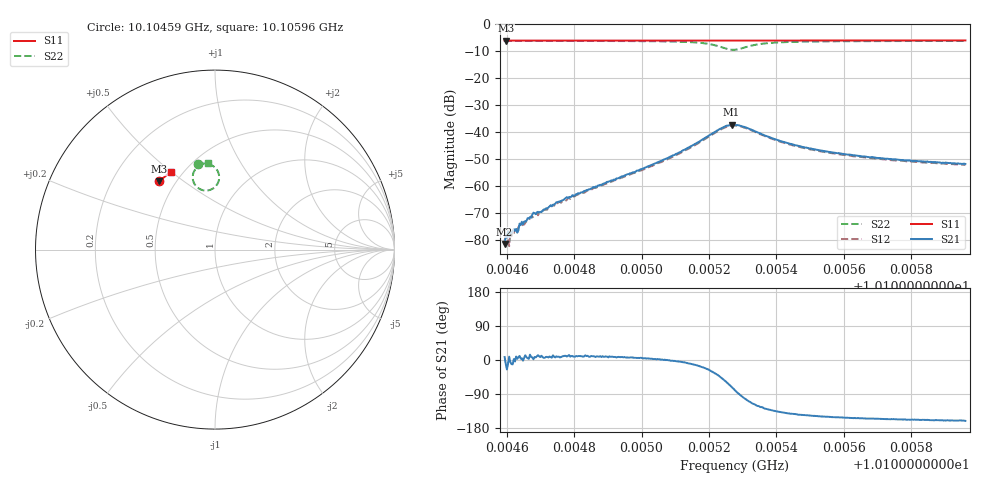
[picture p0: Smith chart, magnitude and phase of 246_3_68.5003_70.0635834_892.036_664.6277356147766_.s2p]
#  HZ  S  RI  R  50.00
! Rohde & Schwarz Vector Network Analyzer
! Rohde-Schwarz,ZNB20-2Port,1311601062101988,3.16
! Created: UTC 3/20/2024, 5:14:46 PM
! freq[Hz]  re:S11  im:S11  re:S21  im:S21  re:S12  im:S12  re:S22  im:S22
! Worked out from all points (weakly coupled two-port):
!   401 points, 10.10459 GHz to 10.10596 GHz, reference 50 ohm
!   highest |S21| = -37.40 dB at 10.10527 GHz (marker M1); lowest = -81.6 dB at 10.10459 GHz (marker M2)
!   lowest |S11| = -6.2 dB at 10.1046 GHz (marker M3), VSWR 2.94, Z = 20.3 + j20.3 ohm
!   |S11| at or under -10 dB: nowhere
!   |S22| runs from -9.6 to -6.3 dB; largest |S21 - S12| = 0.0015
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1.0104594e10  -0.3133 0.3799  8.2e-05 1.13e-05  9.22e-05 -2.03e-05  -0.0956 0.4752
1.0104597e10  -0.3131 0.3799  0.000112 -2.1e-05  0.000117 4.15e-06  -0.0953 0.4752
1.0104607e10  -0.3126 0.3804  0.00011 1.71e-05  7.38e-05 1.61e-05  -0.0944 0.4753
1.0104621e10  -0.3121 0.381  0.000157 7.19e-06  0.000131 1.41e-05  -0.0934 0.4755
1.0104628e10  -0.3117 0.3811  0.000156 2.52e-05  0.000163 1.25e-05  -0.0927 0.4757
1.0104645e10  -0.3109 0.382  0.000214 1.67e-05  0.000183 7.97e-06  -0.0912 0.4759
1.0104683e10  -0.3091 0.3834  0.000307 4.22e-05  0.000275 5.66e-05  -0.0879 0.4767
1.0104703e10  -0.3082 0.3843  0.000318 6.33e-05  0.000315 6.54e-05  -0.086 0.477
1.0104751e10  -0.306 0.3862  0.000493 7.16e-05  0.000457 0.000134  -0.0814 0.4776
1.0104823e10  -0.3025 0.3891  0.000743 0.000132  0.000687 0.000185  -0.0738 0.4786
1.0105052e10  -0.2917 0.3981  0.00279 9.98e-05  0.00265 0.000319  -0.0369 0.4768
1.0105113e10  -0.2886 0.4003  0.00419 -0.000323  0.00398 7.42e-05  -0.0185 0.47
1.0105182e10  -0.285 0.4028  0.00686 -0.00238  0.00671 -0.00156  0.0116 0.4428
1.0105236e10  -0.2822 0.4043  0.00795 -0.0084  0.00848 -0.00719  0.0173 0.3737
1.0105267e10  -0.281 0.405  0.00441 -0.0127  0.00551 -0.0118  -0.0301 0.3318
1.0105277e10  -0.2806 0.4055  0.00227 -0.0132  0.00362 -0.0126  -0.0533 0.329
1.0105339e10  -0.2783 0.4078  -0.00486 -0.00886  -0.00399 -0.009  -0.1239 0.3944
1.0105417e10  -0.2745 0.4109  -0.00494 -0.00439  -0.00437 -0.00465  -0.1103 0.4461
1.0105506e10  -0.2702 0.4141  -0.00406 -0.00261  -0.00368 -0.00285  -0.0908 0.4652
1.0105602e10  -0.2652 0.4177  -0.0034 -0.00183  -0.00311 -0.00203  -0.0758 0.4737
1.0105735e10  -0.2585 0.4223  -0.00286 -0.00125  -0.00264 -0.00147  -0.06 0.4793
1.0105961e10  -0.2471 0.4297  -0.00239 -0.000844  -0.00219 -0.00102  -0.0392 0.484
